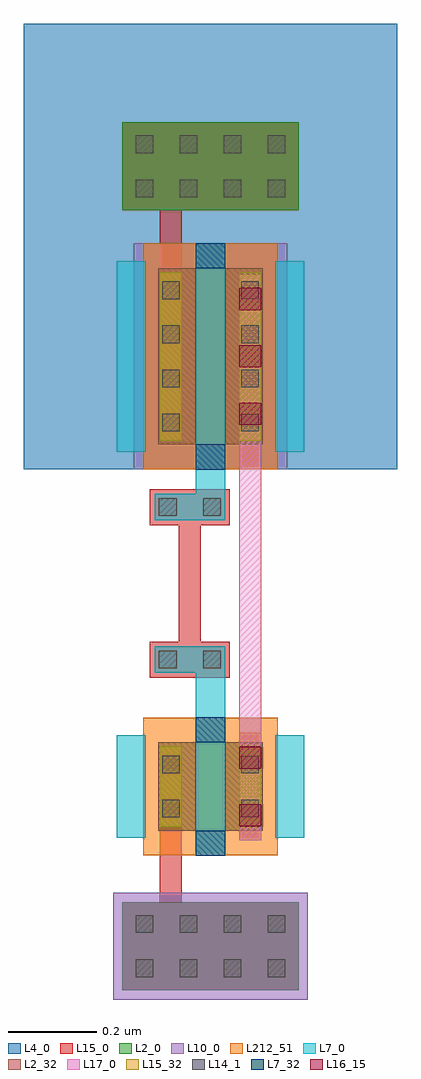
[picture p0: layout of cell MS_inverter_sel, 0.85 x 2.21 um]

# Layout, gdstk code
import gdstk
lib = gdstk.Library(unit=1e-6, precision=1e-09)
def R(c, l, rs):  # rectangles x0, y0, x1, y1
    for r in rs: c.add(gdstk.rectangle(r[:2], r[2:], *l))
def A(c, l, x, y, w, h, nx, ny, dx, dy):  # array of equal rectangles
    R(c, l, [(x+i*dx, y+j*dy, x+i*dx+w, y+j*dy+h) for i in range(nx) for j in range(ny)])
L2_0 = (2, 0)
L2_32 = (2, 32)
L4_0 = (4, 0)
L7_0 = (7, 0)
L7_32 = (7, 32)
L10_0 = (10, 0)
L14_1 = (14, 1)
L15_0 = (15, 0)
L15_32 = (15, 32)
L16_15 = (16, 15)
L17_0 = (17, 0)
L212_51 = (212, 51)

nmos_in_nmos_in_ms_inver = lib.new_cell('nmos_in_nmos_in_MS_inverter_sel')
R(nmos_in_nmos_in_ms_inver, L2_0, [(-0.118,-0.1,0.118,0.1)])
R(nmos_in_nmos_in_ms_inver, L2_32, [(-0.118,-0.1,-0.033,0.1), (0.033,-0.1,0.118,0.1)])
R(nmos_in_nmos_in_ms_inver, L7_0, [(-0.033,-0.157,0.033,0.157), (-0.213,-0.116,-0.147,0.116), (0.147,-0.116,0.213,0.116)])
R(nmos_in_nmos_in_ms_inver, L7_32, [(-0.033,-0.157,0.033,-0.1), (-0.033,0.1,0.033,0.157)])
R(nmos_in_nmos_in_ms_inver, L14_1, [(-0.11,-0.07,-0.07,-0.03), (0.07,-0.07,0.11,-0.03), (-0.11,0.03,-0.07,0.07), (0.07,0.03,0.11,0.07)])
R(nmos_in_nmos_in_ms_inver, L15_0, [(-0.115,-0.091,-0.065,0.091), (0.065,-0.091,0.115,0.091)])
R(nmos_in_nmos_in_ms_inver, L15_32, [(-0.115,-0.091,-0.065,0.091), (0.065,-0.091,0.115,0.091)])
R(nmos_in_nmos_in_ms_inver, L212_51, [(-0.153,-0.156,0.153,0.156)])

nmos_gate_via_in_nmos_in = lib.new_cell('nmos_gate_via_in_nmos_in_MS_inverter_sel')
R(nmos_gate_via_in_nmos_in, L7_0, [(-0.08,-0.03,0.08,0.03)])
R(nmos_gate_via_in_nmos_in, L14_1, [(-0.07,-0.02,-0.03,0.02), (0.03,-0.02,0.07,0.02)])
R(nmos_gate_via_in_nmos_in, L15_0, [(-0.091,-0.041,0.091,0.041)])

nmos_in_ms_inverter_sel = lib.new_cell('nmos_in_MS_inverter_sel')
nmos_in_ms_inverter_sel.add(gdstk.FlexPath([(-0.033,0.288),(0.033,0.288)], 0.06, ends="flush", simple_path=True, layer=7, datatype=0))  # L7_0
nmos_in_ms_inverter_sel.add(gdstk.FlexPath([(0,0),(0,0.288)], 0.066, ends="flush", simple_path=True, layer=7, datatype=0))  # L7_0
nmos_in_ms_inverter_sel.add(gdstk.Reference(nmos_in_nmos_in_ms_inver, (0,0)))
nmos_in_ms_inverter_sel.add(gdstk.Reference(nmos_gate_via_in_nmos_in, (-0.047,0.288)))

pmos_in_pmos_in_ms_inver = lib.new_cell('pmos_in_pmos_in_MS_inverter_sel')
R(pmos_in_pmos_in_ms_inver, L2_0, [(-0.118,-0.2,0.118,0.2)])
R(pmos_in_pmos_in_ms_inver, L2_32, [(-0.118,-0.2,-0.033,0.2), (0.033,-0.2,0.118,0.2)])
R(pmos_in_pmos_in_ms_inver, L7_0, [(-0.033,-0.257,0.033,0.257), (-0.213,-0.216,-0.147,0.216), (0.147,-0.216,0.213,0.216)])
R(pmos_in_pmos_in_ms_inver, L7_32, [(-0.033,-0.257,0.033,-0.2), (-0.033,0.2,0.033,0.257)])
R(pmos_in_pmos_in_ms_inver, L10_0, [(-0.174,-0.256,0.174,0.256)])
A(pmos_in_pmos_in_ms_inver, L14_1, -0.11, -0.17, 0.04, 0.04, 1, 4, 0, 0.1)
A(pmos_in_pmos_in_ms_inver, L14_1, 0.07, -0.17, 0.04, 0.04, 1, 4, 0, 0.1)
R(pmos_in_pmos_in_ms_inver, L15_0, [(-0.115,-0.191,-0.065,0.191), (0.065,-0.191,0.115,0.191)])
R(pmos_in_pmos_in_ms_inver, L15_32, [(-0.115,-0.191,-0.065,0.191), (0.065,-0.191,0.115,0.191)])
R(pmos_in_pmos_in_ms_inver, L212_51, [(-0.153,-0.256,0.153,0.256)])

pmos_gate_via_in_pmos_in = lib.new_cell('pmos_gate_via_in_pmos_in_MS_inverter_sel')
R(pmos_gate_via_in_pmos_in, L7_0, [(-0.08,-0.03,0.08,0.03)])
R(pmos_gate_via_in_pmos_in, L14_1, [(-0.07,-0.02,-0.03,0.02), (0.03,-0.02,0.07,0.02)])
R(pmos_gate_via_in_pmos_in, L15_0, [(-0.091,-0.041,0.091,0.041)])

pmos_in_ms_inverter_sel = lib.new_cell('pmos_in_MS_inverter_sel')
pmos_in_ms_inverter_sel.add(gdstk.FlexPath([(-0.033,-0.342),(0.033,-0.342)], 0.06, ends="flush", simple_path=True, layer=7, datatype=0))  # L7_0
pmos_in_ms_inverter_sel.add(gdstk.FlexPath([(0,0),(0,-0.342)], 0.066, ends="flush", simple_path=True, layer=7, datatype=0))  # L7_0
pmos_in_ms_inverter_sel.add(gdstk.Reference(pmos_in_pmos_in_ms_inver, (0,0)))
pmos_in_ms_inverter_sel.add(gdstk.Reference(pmos_gate_via_in_pmos_in, (-0.047,-0.342)))

pmos_output_via_in_ms_in = lib.new_cell('pmos_output_via_in_MS_inverter_sel')
R(pmos_output_via_in_ms_in, L15_0, [(-0.025,-0.187,0.025,0.187)])
A(pmos_output_via_in_ms_in, L16_15, -0.025, -0.155, 0.05, 0.05, 1, 3, 0, 0.13)
R(pmos_output_via_in_ms_in, L17_0, [(-0.025,-0.187,0.025,0.187)])

nmos_output_via_in_ms_in = lib.new_cell('nmos_output_via_in_MS_inverter_sel')
R(nmos_output_via_in_ms_in, L15_0, [(-0.025,-0.122,0.025,0.122)])
R(nmos_output_via_in_ms_in, L16_15, [(-0.025,-0.09,0.025,-0.04), (-0.025,0.04,0.025,0.09)])
R(nmos_output_via_in_ms_in, L17_0, [(-0.025,-0.122,0.025,0.122)])

vss_in_ms_inverter_sel = lib.new_cell('vss_in_MS_inverter_sel')
R(vss_in_ms_inverter_sel, L2_0, [(-0.2,-0.1,0.2,0.1)])
R(vss_in_ms_inverter_sel, L10_0, [(-0.221,-0.121,0.221,0.121)])
A(vss_in_ms_inverter_sel, L14_1, -0.17, -0.07, 0.04, 0.04, 4, 2, 0.1, 0.1)
R(vss_in_ms_inverter_sel, L15_0, [(-0.2,-0.1,0.2,0.1)])

vdd_in_ms_inverter_sel = lib.new_cell('vdd_in_MS_inverter_sel')
R(vdd_in_ms_inverter_sel, L2_0, [(-0.2,-0.1,0.2,0.1)])
A(vdd_in_ms_inverter_sel, L14_1, -0.17, -0.07, 0.04, 0.04, 4, 2, 0.1, 0.1)
R(vdd_in_ms_inverter_sel, L15_0, [(-0.2,-0.1,0.2,0.1)])

ms_inverter_sel = lib.new_cell('MS_inverter_sel')
R(ms_inverter_sel, L4_0, [(-0.424,0.259,0.424,1.27)])
ms_inverter_sel.add(gdstk.FlexPath([(0.065,0.353),(0.115,0.353)], 0.05, ends="flush", simple_path=True, layer=17, datatype=0))  # L17_0
ms_inverter_sel.add(gdstk.FlexPath([(0.065,-0.364),(0.115,-0.364)], 0.05, ends="flush", simple_path=True, layer=17, datatype=0))  # L17_0
ms_inverter_sel.add(gdstk.FlexPath([(0.09,0.353),(0.09,-0.364)], 0.05, ends="flush", simple_path=True, layer=17, datatype=0))  # L17_0
ms_inverter_sel.add(gdstk.FlexPath([(-0.047,-0.173),(-0.047,0.173)], 0.05, ends="flush", simple_path=True, layer=15, datatype=0))  # L15_0
ms_inverter_sel.add(gdstk.FlexPath([(-0.09,-0.461),(-0.09,-0.823)], 0.05, ends="flush", simple_path=True, layer=15, datatype=0))  # L15_0
ms_inverter_sel.add(gdstk.FlexPath([(-0.09,0.515),(-0.09,0.946)], 0.05, ends="flush", simple_path=True, layer=15, datatype=0))  # L15_0
ms_inverter_sel.add(gdstk.Reference(nmos_in_ms_inverter_sel, (0,-0.461)))
ms_inverter_sel.add(gdstk.Reference(pmos_in_ms_inverter_sel, (0,0.515)))
ms_inverter_sel.add(gdstk.Reference(pmos_output_via_in_ms_in, (0.09,0.515)))
ms_inverter_sel.add(gdstk.Reference(nmos_output_via_in_ms_in, (0.09,-0.461)))
ms_inverter_sel.add(gdstk.Reference(vss_in_ms_inverter_sel, (0,-0.823)))
ms_inverter_sel.add(gdstk.Reference(vdd_in_ms_inverter_sel, (0,0.946)))

lib.write_gds('MS_inverter_sel.gds')
